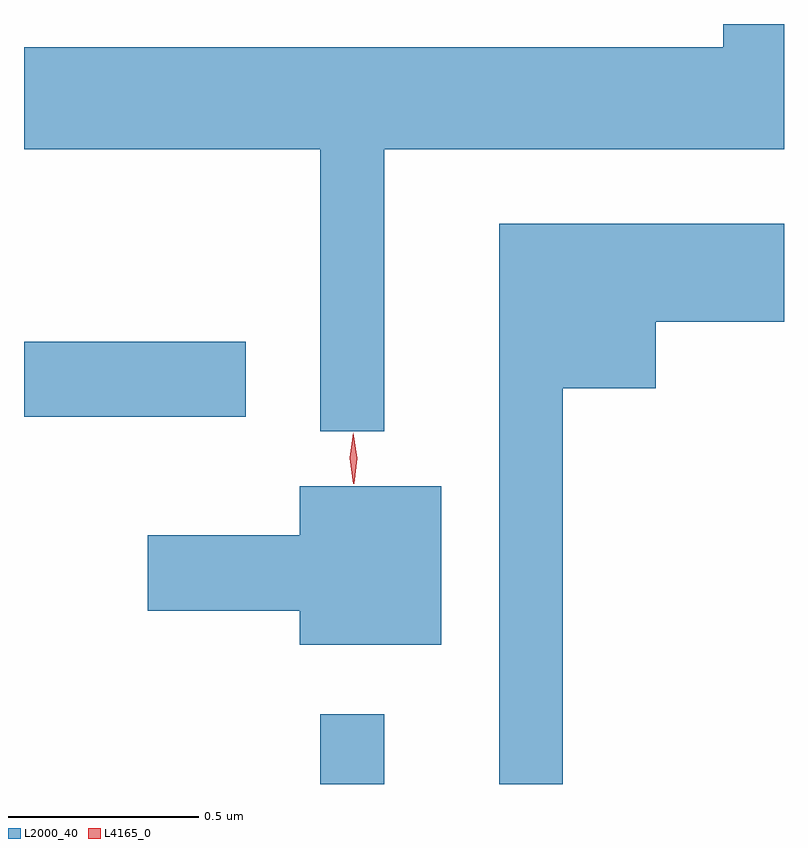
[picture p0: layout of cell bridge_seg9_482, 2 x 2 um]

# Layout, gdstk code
import gdstk
lib = gdstk.Library(unit=1e-6, precision=1e-09)
def R(c, l, rs):  # rectangles x0, y0, x1, y1
    for r in rs: c.add(gdstk.rectangle(r[:2], r[2:], *l))
def P(c, l, *ps):  # polygons
    for p in ps: c.add(gdstk.Polygon(p, *l))
L2000_40 = (2000, 40)
L4165_0 = (4165, 0)

bridge_seg9_482 = lib.new_cell('bridge_seg9_482')
R(bridge_seg9_482, L2000_40, [(439.571,1987.925,439.739,1988.108), (438.791,1988.891,439.374,1989.089)])
P(bridge_seg9_482, L2000_40, [(439.739,1989.596),(440.791,1989.596),(440.791,1989.925),(440.631,1989.925),(440.631,1989.864),(438.791,1989.864),(438.791,1989.596),(439.571,1989.596),(439.571,1988.853),(439.739,1988.853)],
  [(440.209,1988.966),(440.454,1988.966),(440.454,1989.141),(440.791,1989.141),(440.791,1989.399),(440.041,1989.399),(440.041,1987.925),(440.209,1987.925)],
  [(439.889,1988.709),(439.516,1988.709),(439.516,1988.579),(439.116,1988.579),(439.116,1988.381),(439.516,1988.381),(439.516,1988.291),(439.889,1988.291)])
P(bridge_seg9_482, L4165_0, [(439.658,1988.715),(439.648,1988.782),(439.658,1988.85),(439.658,1988.85),(439.658,1988.85),(439.668,1988.782),(439.66,1988.715),(439.659,1988.715)],
  [(439.658,1988.721),(439.648,1988.784),(439.658,1988.846),(439.658,1988.847),(439.658,1988.846),(439.668,1988.784),(439.66,1988.721),(439.659,1988.721)])

lib.write_gds('bridge_seg9_482.gds')
